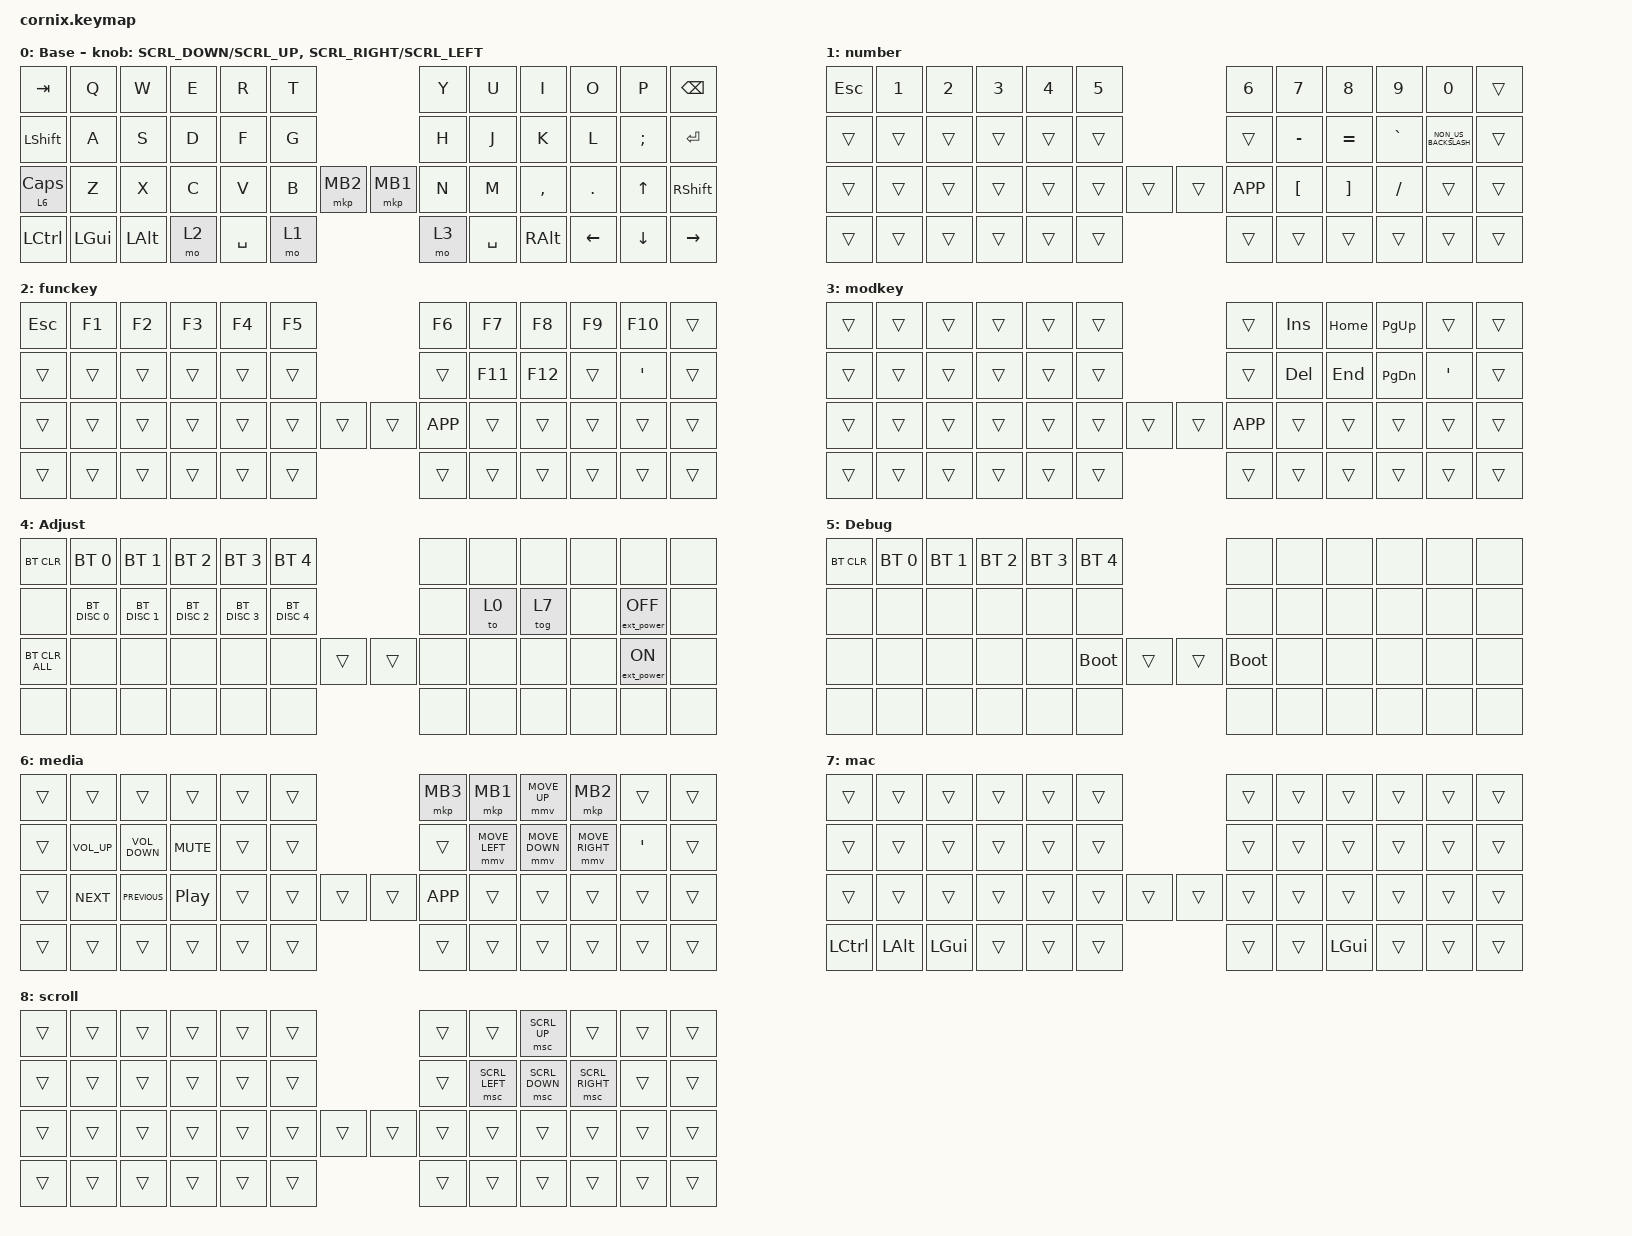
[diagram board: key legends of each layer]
/*
 * Copyright (c) 2020 The ZMK Contributors
 *
 * SPDX-License-Identifier: MIT
 */

#include "zmk-helpers/helper.h"
#include "includes/cornix54.h"

// tap windows for ctl alt and gui

#define HM_TAPPING_TERM 250
#define HM_TAPPING_REPEAT 210

// quick tapping for shift

#define HM_TAPPING_TERM_FAST 200
#define HM_PRIOR_IDLE 70
#define BASE 0
#define WIN 1
#define LOWER 2
#define RAISE 3
#define ADJUST 4
#define NAVI   5
#define NUM    6
#define DEBUG  7

// https://github.com/urob/zmk-config/tree/main#timeless-homerow-mods

#define KEYS_L LT0 LT1 LT2 LT3 LT4 LT5 LM0 LM1 LM2 LM3 LM4 LM5 LB0 LB1 LB2 LB3 LB4 LB5  // left hand
#define KEYS_R RT0 RT1 RT2 RT3 RT4 RT5 RM0 RM1 RM2 RM3 RM4 RM5 RB0 RB1 RB2 RB3 RB4 RB5  // right hand
#define THUMBS LH1 LH0 RH0 RH1
#define KEYS_T LH1 LH0 RH0 RH1
#define ZMK_POINTING_DEFAULT_SCRL_VAL 15

#include <behaviors.dtsi>
#include <dt-bindings/zmk/bt.h>
#include <dt-bindings/zmk/ext_power.h>
#include <dt-bindings/zmk/keys.h>
#include <dt-bindings/zmk/pointing.h>

/ {
    // Activate ADJUST layer by pressing raise and lower

    behaviors {
        hm_l: homerow_mods_left {
            compatible = "zmk,behavior-hold-tap";
            #binding-cells = <2>;
            bindings = <&kp>, <&kp>;

            flavor = "balanced";
            tapping-term-ms = <HM_TAPPING_TERM>;
            quick-tap-ms = <200>;                // repeat on tap-into-hold
            require-prior-idle-ms = <HM_PRIOR_IDLE>;
            hold-trigger-key-positions = <KEYS_R KEYS_T>;
            hold-trigger-on-release;
        };

        hm_r: homerow_mods_right {
            compatible = "zmk,behavior-hold-tap";
            #binding-cells = <2>;
            bindings = <&kp>, <&kp>;

            flavor = "balanced";
            tapping-term-ms = <HM_TAPPING_TERM>;
            quick-tap-ms = <200>;
            require-prior-idle-ms = <HM_PRIOR_IDLE>;
            hold-trigger-key-positions = <KEYS_L KEYS_T>;
            hold-trigger-on-release;
        };

        // Positional Homerow mods for shift
        // Use faster tapping term and disable some features that may
        // cause false negatives.

        hm_shift_l: hm_shift_l {
            compatible = "zmk,behavior-hold-tap";
            #binding-cells = <2>;
            bindings = <&kp>, <&kp>;

            //flavor = "balanced";

            flavor = "balanced";
            tapping-term-ms = <HM_TAPPING_TERM_FAST>;
            quick-tap-ms = <200>;
            require-prior-idle-ms = <HM_PRIOR_IDLE>;
            hold-trigger-key-positions = <KEYS_R KEYS_T>;
            hold-trigger-on-release;
        };

        hm_shift_r: hm_shift_r {
            compatible = "zmk,behavior-hold-tap";
            #binding-cells = <2>;
            bindings = <&kp>, <&kp>;

            flavor = "balanced";
            tapping-term-ms = <HM_TAPPING_TERM_FAST>;
            quick-tap-ms = <200>;
            require-prior-idle-ms = <HM_PRIOR_IDLE>;
            hold-trigger-key-positions = <KEYS_L KEYS_T>;

            // for quick tapping; shift+~

            hold-trigger-on-release;
        };

        /*
         * Non-Positional Homerow Mods
         * Used for &mm_grescm_gui behavior on left hand.
         *
         * Usage: &hm LSHFT T
         * Tap: T
         * Tap-Tap-Hold: Repeat T
         * Hold: LSHIFT
         */

        hm: homerow_mods {
            compatible = "zmk,behavior-hold-tap";
            #binding-cells = <2>;
            bindings = <&kp>, <&kp>;

            flavor = "balanced";
            tapping-term-ms = <HM_TAPPING_TERM>;
            quick-tap-ms = <200>;
        };

        inc_dec_msc: inc_dec_msc {
            compatible = "zmk,behavior-sensor-rotate-var";
            #sensor-binding-cells = <2>;
            bindings = <&msc>, <&msc>;

            tap-ms = <200>;
        };

        lt: layer_tap {
            compatible = "zmk,behavior-hold-tap";
            #binding-cells = <2>;
            bindings = <&mo>, <&kp>;

            flavor = "hold-preferred";
            tapping-term-ms = <HM_TAPPING_TERM>;
            quick-tap-ms = <200>;
        };
    };

    conditional_layers {
        compatible = "zmk,conditional-layers";

        adjust_layer {
            if-layers = <1 3>;
            then-layer = <4>;
        };

        debug {
            if-layers = <2 6>;
            then-layer = <5>;
        };

        navi {
            if-layers = <1 6>;
            then-layer = <8>;
        };
    };

    combos { compatible = "zmk,combos"; };

    keymap {
        compatible = "zmk,keymap";

        default_layer {
            display-name = "Base";

            // ------------------------------------------------------------------------------------------------------------
            // |   `   |  1  |  2  |  3   |  4   |  5   |                   |  6   |  7    |  8    |  9   |   0   |       |
            // |  ESC  |  Q  |  W  |  E   |  R   |  T   |                   |  Y   |  U    |  I    |  O   |   P   | BKSPC |
            // |  TAB  |  A  |  S  |  D   |  F   |  G   |                   |  H   |  J    |  K    |  L   |   ;   |   '   |
            // | SHIFT |  Z  |  X  |  C   |  V   |  B   |  MUTE  |  |       |  N   |  M    |  ,    |  .   |   /   | SHIFT |
            //               | GUI | ALT  | CTRL | LOWER|  ENTER |  | SPACE | RAISE| CTRL  | ALT   | GUI  |

            bindings = <
&kp TAB         &kp Q         &kp W         &kp E  &kp R      &kp T                      &kp Y  &kp U      &kp I          &kp O           &kp P           &kp BACKSPACE
&kp LEFT_SHIFT  &kp A         &kp S         &kp D  &kp F      &kp G                      &kp H  &kp J      &kp K          &kp L           &kp SEMICOLON   &kp ENTER
&lt 6 CAPS      &kp Z         &kp X         &kp C  &kp V      &kp B  &mkp MB2  &mkp MB1  &kp N  &kp M      &kp COMMA      &kp DOT         &kp UP_ARROW    &kp RIGHT_SHIFT
&kp LCTRL       &kp LEFT_GUI  &kp LEFT_ALT  &mo 2  &kp SPACE  &mo 1                      &mo 3  &kp SPACE  &kp RIGHT_ALT  &kp LEFT_ARROW  &kp DOWN_ARROW  &kp RIGHT_ARROW
            >;

            sensor-bindings = <
                &inc_dec_msc SCRL_DOWN SCRL_UP
                &inc_dec_msc SCRL_RIGHT SCRL_LEFT
            >;
        };

        number {
            display-name = "number";

            // ------------------------------------------------------------------------------------------------------------
            // |   `   |  1  |  2  |  3   |  4   |  5   |                   |  6   |  7    |  8    |  9   |   0   |       |
            // |  ESC  |  Q  |  W  |  E   |  R   |  T   |                   |  Y   |  U    |  I    |  O   |   P   | BKSPC |
            // |  TAB  |  A  |  S  |  D   |  F   |  G   |                   |  H   |  J    |  K    |  L   |   ;   |   '   |
            // | SHIFT |  Z  |  X  |  C   |  V   |  B   |  MUTE  |  |       |  N   |  M    |  ,    |  .   |   /   | SHIFT |
            //               | GUI | ALT  | CTRL | LOWER|  ENTER |  | SPACE | RAISE| CTRL  | ALT   | GUI  |

            bindings = <
&kp ESCAPE  &kp NUMBER_1  &kp NUMBER_2  &kp NUMBER_3  &kp NUMBER_4  &kp NUMBER_5                  &kp NUMBER_6  &kp NUMBER_7      &kp NUMBER_8       &kp NUMBER_9  &kp NUMBER_0          &trans
&trans      &trans        &trans        &trans        &trans        &trans                        &trans        &kp MINUS         &kp EQUAL          &kp GRAVE     &kp NON_US_BACKSLASH  &trans
&trans      &trans        &trans        &trans        &trans        &trans        &trans  &trans  &kp K_APP     &kp LEFT_BRACKET  &kp RIGHT_BRACKET  &kp SLASH     &trans                &trans
&trans      &trans        &trans        &trans        &trans        &trans                        &trans        &trans            &trans             &trans        &trans                &trans
            >;
        };

        funckey {
            bindings = <
&kp ESCAPE  &kp F1  &kp F2  &kp F3  &kp F4  &kp F5                  &kp F6     &kp F7   &kp F8   &kp F9  &kp F10  &trans
&trans      &trans  &trans  &trans  &trans  &trans                  &trans     &kp F11  &kp F12  &trans  &kp SQT  &trans
&trans      &trans  &trans  &trans  &trans  &trans  &trans  &trans  &kp K_APP  &trans   &trans   &trans  &trans   &trans
&trans      &trans  &trans  &trans  &trans  &trans                  &trans     &trans   &trans   &trans  &trans   &trans
            >;
        };

        modkey {
            bindings = <
&trans  &trans  &trans  &trans  &trans  &trans                  &trans     &kp INS     &kp HOME  &kp PAGE_UP    &trans   &trans
&trans  &trans  &trans  &trans  &trans  &trans                  &trans     &kp DELETE  &kp END   &kp PAGE_DOWN  &kp SQT  &trans
&trans  &trans  &trans  &trans  &trans  &trans  &trans  &trans  &kp K_APP  &trans      &trans    &trans         &trans   &trans
&trans  &trans  &trans  &trans  &trans  &trans                  &trans     &trans      &trans    &trans         &trans   &trans
            >;
        };

        Adjust_layer {
            display-name = "Adjust";

            // ----------------------------------------------------------------------------------------------------------------------------
            // | BTCLR  |  BT1    |  BT2    |   BT3   |   BT4   |   BT5   |                  |      |      |       |      |       |       |
            // | moDEBUG| RGB_HUD | RGB_HUI | RGB_SAD | RGB_SAI | RGB_EFF |                  |      |      |       |      |       |       |
            // | EXTPWR | RGB_BRD | RGB_BRI |         |         |         |                  |      |      |       |      |       |       |
            // |        |         |         |         |         |         | RGB_TOG | |      |      |      |       |      |       |       |
            //                    |         |         |         |         |         | |      |      |      |       |      |

            bindings = <
&bt BT_CLR      &bt BT_SEL 0   &bt BT_SEL 1   &bt BT_SEL 2   &bt BT_SEL 3   &bt BT_SEL 4                   &none  &none  &none   &none  &none              &none
&none           &bt BT_DISC 0  &bt BT_DISC 1  &bt BT_DISC 2  &bt BT_DISC 3  &bt BT_DISC 4                  &none  &to 0  &tog 7  &none  &ext_power EP_OFF  &none
&bt BT_CLR_ALL  &none          &none          &none          &none          &none          &trans  &trans  &none  &none  &none   &none  &ext_power EP_ON   &none
&none           &none          &none          &none          &none          &none                          &none  &none  &none   &none  &none              &none
            >;
        };

        Debug_layer {
            display-name = "Debug";

            // ----------------------------------------------------------------------------------------------------------------------------
            // | BTCLR  |  BT1    |  BT2    |   BT3   |   BT4   |   BT5   |                  |      |      |       |      |       |       |
            // | EXTPWR | BTCLR | RGB_HUI | RGB_SAD | RGB_SAI | RGB_EFF |                  |      |      |       |      |       |       |
            // |        | RGB_BRD | RGB_BRI |         |         |         |                  |      |      |       |      |       |       |
            // |        |         |         |         |         |         | RGB_TOG | |      |      |      |       |      |       |       |
            //                    |         |         |         |         |         | |      |      |      |       |      |

            bindings = <
&bt BT_CLR  &bt BT_SEL 0  &bt BT_SEL 1  &bt BT_SEL 2  &bt BT_SEL 3  &bt BT_SEL 4                  &none        &none  &none  &none  &none  &none
&none       &none         &none         &none         &none         &none                         &none        &none  &none  &none  &none  &none
&none       &none         &none         &none         &none         &bootloader   &trans  &trans  &bootloader  &none  &none  &none  &none  &none
&none       &none         &none         &none         &none         &none                         &none        &none  &none  &none  &none  &none
            >;
        };

        media {
            bindings = <
&trans  &trans           &trans             &trans            &trans  &trans                  &mkp MB3   &mkp MB1        &mmv MOVE_UP    &mkp MB2         &trans   &trans
&trans  &kp C_VOLUME_UP  &kp C_VOLUME_DOWN  &kp C_MUTE        &trans  &trans                  &trans     &mmv MOVE_LEFT  &mmv MOVE_DOWN  &mmv MOVE_RIGHT  &kp SQT  &trans
&trans  &kp C_NEXT       &kp C_PREVIOUS     &kp C_PLAY_PAUSE  &trans  &trans  &trans  &trans  &kp K_APP  &trans          &trans          &trans           &trans   &trans
&trans  &trans           &trans             &trans            &trans  &trans                  &trans     &trans          &trans          &trans           &trans   &trans
            >;
        };

        mac {
            bindings = <
&trans     &trans    &trans    &trans  &trans  &trans                  &trans  &trans  &trans    &trans  &trans  &trans
&trans     &trans    &trans    &trans  &trans  &trans                  &trans  &trans  &trans    &trans  &trans  &trans
&trans     &trans    &trans    &trans  &trans  &trans  &trans  &trans  &trans  &trans  &trans    &trans  &trans  &trans
&kp LCTRL  &kp LALT  &kp LGUI  &trans  &trans  &trans                  &trans  &trans  &kp LGUI  &trans  &trans  &trans
            >;
        };

        scroll {
            bindings = <
&trans  &trans  &trans  &trans  &trans  &trans                  &trans  &trans          &msc SCRL_UP    &trans           &trans  &trans
&trans  &trans  &trans  &trans  &trans  &trans                  &trans  &msc SCRL_LEFT  &msc SCRL_DOWN  &msc SCRL_RIGHT  &trans  &trans
&trans  &trans  &trans  &trans  &trans  &trans  &trans  &trans  &trans  &trans          &trans          &trans           &trans  &trans
&trans  &trans  &trans  &trans  &trans  &trans                  &trans  &trans          &trans          &trans           &trans  &trans
            >;
        };
    };
};
